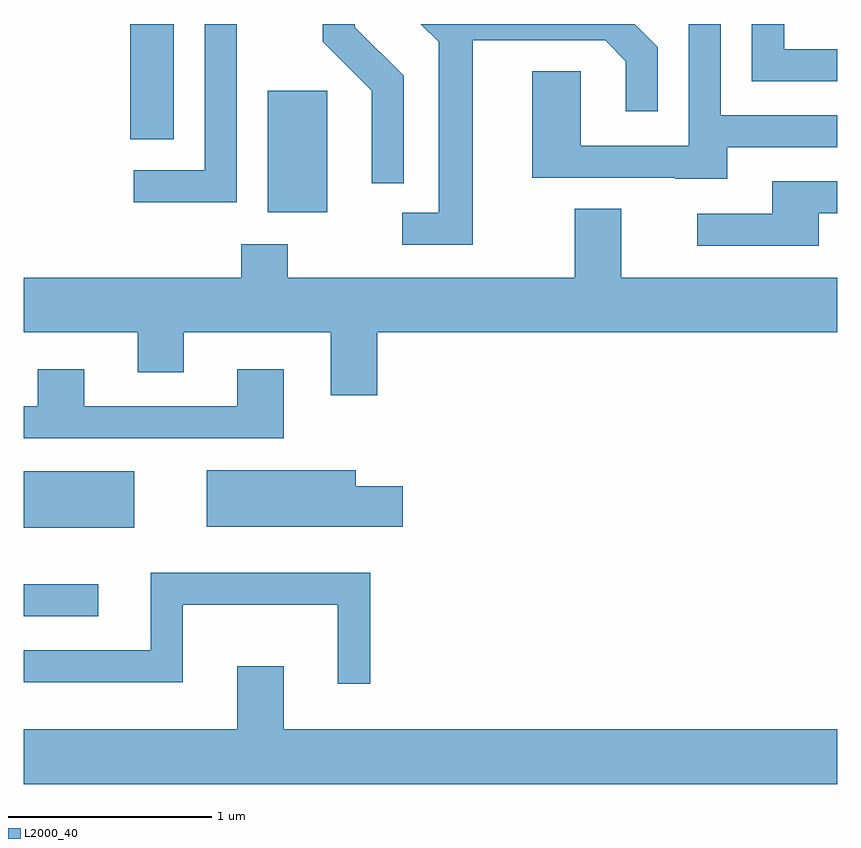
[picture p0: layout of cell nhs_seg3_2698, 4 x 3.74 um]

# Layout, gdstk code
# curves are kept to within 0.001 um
import gdstk
lib = gdstk.Library(unit=1e-6, precision=1e-09)
def R(c, l, rs):  # rectangles x0, y0, x1, y1
    for r in rs: c.add(gdstk.rectangle(r[:2], r[2:], *l))
def P(c, l, *ps):  # polygons
    for p in ps: c.add(gdstk.Polygon(p, *l))
L2000_40 = (2000, 40)

nhs_seg3_2698 = lib.new_cell('nhs_seg3_2698')
R(nhs_seg3_2698, L2000_40, [(263.611,1208.981,263.978,1209.139), (263.611,1209.416,264.154,1209.694), (264.811,1210.966,265.104,1211.564), (264.136,1211.326,264.349,1211.892)])
P(nhs_seg3_2698, L2000_40, [(264.659,1211.892),(264.501,1211.892),(264.501,1211.174),(264.153,1211.174),(264.153,1211.016),(264.659,1211.016)],
  [(265.479,1211.637),(265.239,1211.877),(265.239,1211.892),(265.081,1211.892),(265.081,1211.804),(265.321,1211.564),(265.321,1211.108),(265.479,1211.108)],
  [(267.611,1211.769),(267.349,1211.769),(267.349,1211.892),(267.191,1211.892),(267.191,1211.611),(267.611,1211.611)],
  [(267.069,1211.286),(267.611,1211.286),(267.611,1211.444),(267.039,1211.444),(267.039,1211.892),(266.881,1211.892),(266.881,1211.294),(266.349,1211.294),(266.349,1211.659),(266.111,1211.659),(266.111,1211.136),(266.815,1211.136),(266.815,1211.131),(267.069,1211.131)],
  [(265.819,1211.811),(266.469,1211.811),(266.571,1211.709),(266.571,1211.463),(266.729,1211.463),(266.729,1211.777),(266.614,1211.892),(265.443,1211.892),(265.564,1211.891),(265.651,1211.804),(265.651,1210.964),(265.473,1210.964),(265.473,1210.806),(265.819,1210.806)],
  [(267.519,1210.961),(267.611,1210.961),(267.611,1211.119),(267.291,1211.119),(267.291,1210.959),(266.923,1210.959),(266.923,1210.801),(267.519,1210.801)],
  [(265.121,1210.066),(265.349,1210.066),(265.349,1210.376),(267.611,1210.376),(267.611,1210.644),(266.549,1210.644),(266.549,1210.984),(266.321,1210.984),(266.321,1210.644),(264.909,1210.644),(264.909,1210.809),(264.681,1210.809),(264.681,1210.644),(263.611,1210.644),(263.611,1210.376),(264.171,1210.376),(264.171,1210.181),(264.399,1210.181),(264.399,1210.376),(265.121,1210.376)],
  [(264.889,1210.194),(264.661,1210.194),(264.661,1210.014),(263.909,1210.014),(263.909,1210.194),(263.681,1210.194),(263.681,1210.014),(263.611,1210.014),(263.611,1209.856),(264.889,1209.856)],
  [(265.474,1209.619),(265.244,1209.619),(265.244,1209.699),(264.511,1209.699),(264.511,1209.421),(265.474,1209.421)],
  [(265.314,1209.194),(264.236,1209.194),(264.236,1208.814),(263.611,1208.814),(263.611,1208.656),(264.394,1208.656),(264.394,1209.036),(265.156,1209.036),(265.156,1208.648),(265.314,1208.648)],
  [(267.611,1208.424),(264.889,1208.424),(264.889,1208.734),(264.661,1208.734),(264.661,1208.424),(263.611,1208.424),(263.611,1208.156),(267.611,1208.156)])

lib.write_gds('nhs_seg3_2698.gds')
